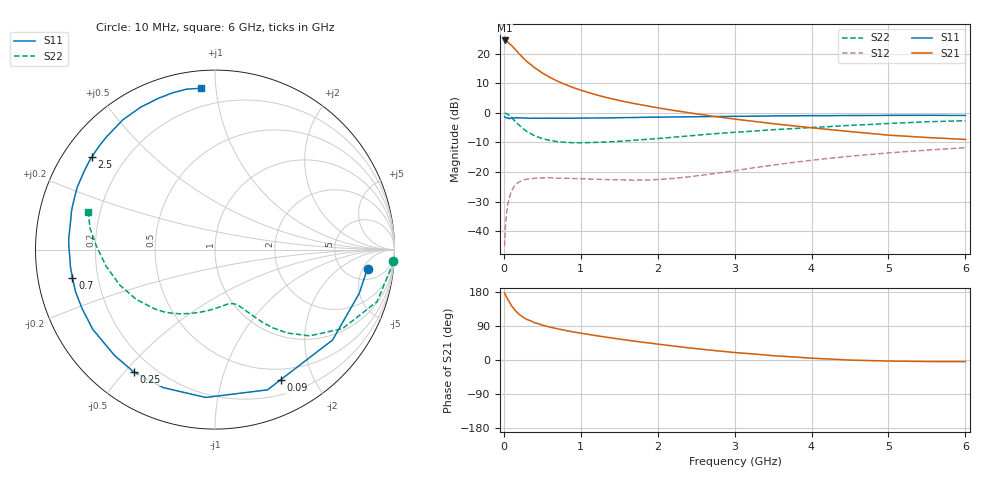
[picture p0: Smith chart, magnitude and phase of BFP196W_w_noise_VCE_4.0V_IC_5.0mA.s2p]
! Infineon Technologies  Discrete & RF Semiconductors
! BFP196W
! VCE =  4.0 V,  IC =  5.0 mA
! Common Emitter S-Parameters:  Jan 2017
# GHz  S  MA  R  50
!  f  S11  S21  S12  S22
! GHz  MAG  ANG  MAG  ANG  MAG  ANG  MAG  ANG
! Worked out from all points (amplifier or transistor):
!   77 points, 10 MHz to 6 GHz, reference 50 ohm
!   highest |S21| = 24.4 dB at 10 MHz (marker M1)
!   |S21| within 3 dB of that: start of sweep to 147.5 MHz
!   unconditionally stable (mu >= 1): 1.579 GHz to 3.164 GHz
!   at 130 MHz: K = 0.09, MSG = 23.5 dB, |S12| = -25.0 dB
!   at 2.2 GHz: K = 1.15, MAG = 9.1 dB, |S12| = -22.2 dB
!   at 6 GHz: K = 0.93, MSG = 1.4 dB, |S12| = -11.8 dB
!   lowest NFmin = 0.90 dB at 450 MHz
!   S11 on the Smith chart (normalised r, x): 10 MHz: 8, -6; 90 MHz: 0.37, -1.56; 250 MHz: 0.13, -0.53; 700 MHz: 0.11, -0.10; 2.5 GHz: 0.08, +0.33; 6 GHz: 0.09, +0.91
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0.01  0.8563 -7.1  16.66 177.0  0.0056 82.4  0.9959 -3.7
0.02  0.8399 -16.9  16.47 171.9  0.0117 84.6  0.9806 -7.1
0.05  0.8262 -37.6  15.71 160.1  0.0278 72.2  0.9483 -17.8
0.09  0.8124 -63.3  14.07 146.7  0.0442 57.9  0.8539 -28.7
0.1  0.8343 -69.5  13.79 142.9  0.0485 55.9  0.8358 -31.8
0.15  0.8255 -93.6  11.7 130.1  0.0615 44.3  0.7128 -42.4
0.2  0.8215 -110.7  9.887 120.3  0.0682 36.1  0.6161 -49.0
0.25  0.818 -123.7  8.473 112.8  0.0734 30.5  0.5409 -53.6
0.3  0.8132 -133.5  7.342 107.1  0.0759 26.3  0.4828 -56.9
0.4  0.8131 -146.9  5.772 98.4  0.0786 21.0  0.4087 -61.3
0.5  0.8101 -156.1  4.703 92.0  0.0795 17.5  0.3669 -64.3
0.6  0.8117 -163.2  3.965 86.8  0.08 15.7  0.3409 -66.9
0.7  0.8097 -168.7  3.414 82.2  0.0787 14.4  0.3249 -69.3
0.9  0.81 -177.3  2.669 74.2  0.0777 13.6  0.313 -74.4
1.1  0.8171 176.1  2.198 67.5  0.0761 14.7  0.3142 -79.8
1.5  0.8272 165.2  1.615 55.3  0.0739 19.6  0.3305 -91.6
2.1  0.8462 151.2  1.157 39.5  0.0763 33.0  0.3762 -109.7
2.5  0.8584 143.0  0.962 30.0  0.086 41.4  0.4174 -121.5
3.1  0.8732 132.1  0.756 18.2  0.1104 48.4  0.4774 -137.7
4.1  0.8951 116.1  0.542 3.8  0.1632 47.3  0.5738 -162.1
5.1  0.905 104.0  0.412 -3.0  0.2151 39.7  0.6686 176.7
6  0.902 94.9  0.355 -4.3  0.2571 31.4  0.7355 163.5
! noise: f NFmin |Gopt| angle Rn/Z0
0.45  0.9  0.44  123  0.09
0.9  1.32  0.6  159  0.06
1.9  2.72  0.75  -161  0.11
2.4  3.29  0.8  -151  0.28
